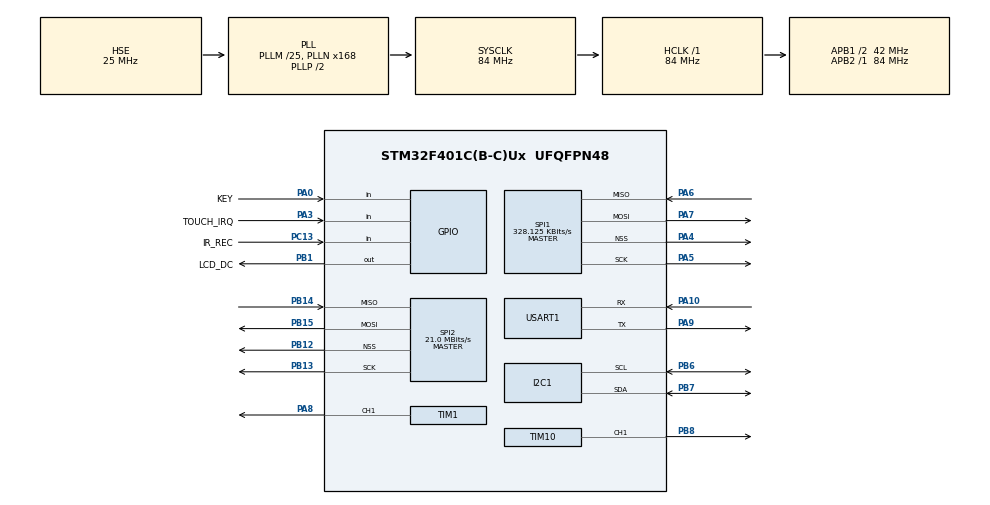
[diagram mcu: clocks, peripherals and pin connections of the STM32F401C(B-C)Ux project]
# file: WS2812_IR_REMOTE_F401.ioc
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Dma.Request0=TIM1_CH1
Dma.TIM1_CH1.0.Direction=DMA_MEMORY_TO_PERIPH
Dma.TIM1_CH1.0.FIFOMode=DMA_FIFOMODE_DISABLE
Dma.TIM1_CH1.0.Instance=DMA2_Stream1
Dma.TIM1_CH1.0.MemDataAlignment=DMA_MDATAALIGN_HALFWORD
Dma.TIM1_CH1.0.MemInc=DMA_MINC_ENABLE
Dma.TIM1_CH1.0.Mode=DMA_NORMAL
Dma.TIM1_CH1.0.PeriphDataAlignment=DMA_PDATAALIGN_HALFWORD
Dma.TIM1_CH1.0.PeriphInc=DMA_PINC_DISABLE
Dma.TIM1_CH1.0.Priority=DMA_PRIORITY_VERY_HIGH
Mcu.Family=STM32F4
Mcu.Name=STM32F401C(B-C)Ux
Mcu.Package=UFQFPN48
NVIC.DMA2_Stream1_IRQn=true\:0\:0\:false\:false\:true\:false\:true\:true
NVIC.PriorityGroup=NVIC_PRIORITYGROUP_4
NVIC.TIM1_UP_TIM10_IRQn=true\:0\:0\:false\:false\:true\:true\:true\:true
NVIC.TIM4_IRQn=true\:0\:0\:false\:false\:true\:true\:true\:true
PA0-WKUP.GPIO_Label=KEY
PA0-WKUP.Signal=GPIO_Input
PA10.Mode=Asynchronous
PA10.Signal=USART1_RX
PA13.Mode=Serial_Wire
PA13.Signal=SYS_JTMS-SWDIO
PA14.Mode=Serial_Wire
PA14.Signal=SYS_JTCK-SWCLK
PA3.GPIO_Label=TOUCH_IRQ
PA3.GPIO_PuPd=GPIO_PULLDOWN
PA3.Signal=GPIO_Input
PA4.Mode=NSS_Signal_Hard_Output
PA4.Signal=SPI1_NSS
PA5.Mode=Full_Duplex_Master
PA5.Signal=SPI1_SCK
PA6.Mode=Full_Duplex_Master
PA6.Signal=SPI1_MISO
PA7.Mode=Full_Duplex_Master
PA7.Signal=SPI1_MOSI
PA8.Signal=S_TIM1_CH1
PA9.Mode=Asynchronous
PA9.Signal=USART1_TX
PB1.GPIO_Label=LCD_DC
PB1.Signal=GPIO_Output
PB12.Mode=NSS_Signal_Hard_Output
PB12.Signal=SPI2_NSS
PB13.Mode=Full_Duplex_Master
PB13.Signal=SPI2_SCK
PB14.Mode=Full_Duplex_Master
PB14.Signal=SPI2_MISO
PB15.Mode=Full_Duplex_Master
PB15.Signal=SPI2_MOSI
PB6.Mode=I2C
PB6.Signal=I2C1_SCL
PB7.Mode=I2C
PB7.Signal=I2C1_SDA
PB8.Signal=S_TIM10_CH1
PC13-ANTI_TAMP.GPIO_Label=IR_REC
PC13-ANTI_TAMP.Signal=GPIO_Input
PH0\ -\ OSC_IN.Mode=HSE-External-Oscillator
PH0\ -\ OSC_IN.Signal=RCC_OSC_IN
PH1\ -\ OSC_OUT.Mode=HSE-External-Oscillator
PH1\ -\ OSC_OUT.Signal=RCC_OSC_OUT
ProjectManager.HeapSize=0x200
ProjectManager.StackSize=0x400
ProjectManager.TargetToolchain=STM32CubeIDE
RCC.48MHZClocksFreq_Value=42000000
RCC.AHBFreq_Value=84000000
RCC.APB1CLKDivider=RCC_HCLK_DIV2
RCC.APB1Freq_Value=42000000
RCC.APB1TimFreq_Value=84000000
RCC.APB2Freq_Value=84000000
RCC.APB2TimFreq_Value=84000000
RCC.CortexFreq_Value=84000000
RCC.HCLKFreq_Value=84000000
RCC.HSE_VALUE=25000000
RCC.HSI_VALUE=16000000
RCC.LSE_VALUE=32768
RCC.PLLM=25
RCC.PLLN=168
RCC.PLLSourceVirtual=RCC_PLLSOURCE_HSE
RCC.SYSCLKFreq_VALUE=84000000
RCC.SYSCLKSource=RCC_SYSCLKSOURCE_PLLCLK
RCC.VCOOutputFreq_Value=168000000
SH.S_TIM10_CH1.0=TIM10_CH1,PWM Generation1 CH1
SH.S_TIM1_CH1.0=TIM1_CH1,PWM Generation1 CH1
SPI1.BaudRatePrescaler=SPI_BAUDRATEPRESCALER_256
SPI1.CalculateBaudRate=328.125 KBits/s
SPI1.Direction=SPI_DIRECTION_2LINES
SPI1.Mode=SPI_MODE_MASTER
SPI1.VirtualNSS=VM_NSSHARD
SPI1.VirtualType=VM_MASTER
SPI2.BaudRatePrescaler=SPI_BAUDRATEPRESCALER_2
SPI2.CalculateBaudRate=21.0 MBits/s
SPI2.Direction=SPI_DIRECTION_2LINES
SPI2.Mode=SPI_MODE_MASTER
SPI2.VirtualNSS=VM_NSSHARD
SPI2.VirtualType=VM_MASTER
TIM1.Channel-PWM\ Generation1\ CH1=TIM_CHANNEL_1
TIM1.Period=104
TIM10.Channel=TIM_CHANNEL_1
TIM10.Period=250-1
TIM10.Prescaler=84-1
TIM4.Period=49
TIM4.Prescaler=83
USART1.VirtualMode=VM_ASYNC
VP_TIM10_VS_ClockSourceINT.Mode=Enable_Timer
VP_TIM1_VS_ClockSourceINT.Mode=Internal
VP_TIM4_VS_ClockSourceINT.Mode=Internal
board=custom

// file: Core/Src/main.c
/* USER CODE BEGIN Header */
/**
 ******************************************************************************
 * @file           : main.c
 * @brief          : Main program body
 ******************************************************************************
 * @attention
 *
 * Copyright (c) 2023 STMicroelectronics.
 * All rights reserved.
 *
 * This software is licensed under terms that can be found in the LICENSE file
 * in the root directory of this software component.
 * If no LICENSE file comes with this software, it is provided AS-IS.
 *
 ******************************************************************************
 */
/* USER CODE END Header */
#include "main.h"

/* USER CODE BEGIN Includes */
#include <stdio.h>
#include <string.h>
#include <stdlib.h>
#include <stdint.h>

#include "at24.h"
#include "ili9488.h"
#include "xpt2046.h"
#include "ir_remote.h"
#include "ws2812.h"
#include "rgb_hsv.h"
#include "lighting.h"
#include "interface.h"

#include "fonts/DejaVu_Sans_Mono/008_DejaVu_Sans_Mono.h"
#include "fonts/DejaVu_Sans_Mono/009_DejaVu_Sans_Mono.h"
#include "fonts/DejaVu_Sans_Mono/010_DejaVu_Sans_Mono.h"
#include "fonts/DejaVu_Sans_Mono/011_DejaVu_Sans_Mono.h"
#include "fonts/DejaVu_Sans_Mono/012_DejaVu_Sans_Mono.h"
#include "fonts/DejaVu_Sans_Mono/014_DejaVu_Sans_Mono.h"
#include "fonts/DejaVu_Sans_Mono/016_DejaVu_Sans_Mono.h"
#include "fonts/DejaVu_Sans_Mono/018_DejaVu_Sans_Mono.h"
#include "fonts/DejaVu_Sans_Mono/020_DejaVu_Sans_Mono.h"
#include "fonts/DejaVu_Sans_Mono/022_DejaVu_Sans_Mono.h"
#include "fonts/DejaVu_Sans_Mono/024_DejaVu_Sans_Mono.h"
#include "fonts/DejaVu_Sans_Mono/026_DejaVu_Sans_Mono.h"
#include "fonts/DejaVu_Sans_Mono/028_DejaVu_Sans_Mono.h"
#include "fonts/DejaVu_Sans_Mono/036_DejaVu_Sans_Mono.h"
#include "fonts/DejaVu_Sans_Mono/048_DejaVu_Sans_Mono.h"
#include "fonts/DejaVu_Sans_Mono/072_DejaVu_Sans_Mono.h"
#include "fonts/DejaVu_Sans_Mono/096_DejaVu_Sans_Mono.h"
#include "fonts/DejaVu_Sans_Mono/112_DejaVu_Sans_Mono.h"
#include "fonts/DejaVu_Sans_Mono/128_DejaVu_Sans_Mono.h"
/* USER CODE END Includes */

I2C_HandleTypeDef hi2c1;

SPI_HandleTypeDef hspi1;
SPI_HandleTypeDef hspi2;

TIM_HandleTypeDef htim1;
TIM_HandleTypeDef htim4;
TIM_HandleTypeDef htim10;
DMA_HandleTypeDef hdma_tim1_ch1;

UART_HandleTypeDef huart1;

/* USER CODE BEGIN PV */
uint8_t touchIRQ = 0;
uint16_t touchX = 0, touchY = 0;
//uint64_t millis = 0;
decode_results results;

double satur = 1.0, bright = 0.0, bright_last = 0.0;
uint16_t delay = 100;
long long millis = 0, millis_last = 0;

/* USER CODE END PV */

void SystemClock_Config(void);
static void MX_GPIO_Init(void);
static void MX_DMA_Init(void);
static void MX_TIM1_Init(void);
static void MX_TIM4_Init(void);
static void MX_USART1_UART_Init(void);
static void MX_SPI1_Init(void);
static void MX_SPI2_Init(void);
static void MX_I2C1_Init(void);
static void MX_TIM10_Init(void);

int main(void)
{

  /* MCU Configuration--------------------------------------------------------*/

  /* Reset of all peripherals, Initializes the Flash interface and the Systick. */
  HAL_Init();

  /* Configure the system clock */
  SystemClock_Config();

  /* Initialize all configured peripherals */
  MX_GPIO_Init();
  MX_DMA_Init();
  MX_TIM1_Init();
  MX_TIM4_Init();
  MX_USART1_UART_Init();
  MX_SPI1_Init();
  MX_SPI2_Init();
  MX_I2C1_Init();
  MX_TIM10_Init();
  /* USER CODE BEGIN 2 */

	TIM10->CCR1 = 125;
//	HAL_TIM_PWM_Start(&htim10, TIM_CHANNEL_1);

	ir_enableIRIn();
	char trans_str[64] = { 0, };
	snprintf(trans_str, 64, "IR-receiver\r\n");
	HAL_UART_Transmit(&huart1, (uint8_t*) trans_str, strlen(trans_str), 100);

	bright = AT24XX_Read(10);

	for (uint16_t i = 0; i < 40; i++) {
		led_rgb_to_buf_dma(1, 1, 1, i);
	}
	led_light();

	remake_palette(bright / 255, satur);

	LCD_Init();
	XPT2046_Init();

	show_clean();

	LCD_Font(5, 25, "R:127", &DejaVu_Sans_Mono_20, 1, RED);
	LCD_Font(5, 50, "G:127", &DejaVu_Sans_Mono_20, 1, GREEN);
	LCD_Font(5, 75, "B:127", &DejaVu_Sans_Mono_20, 1, BLUE);
	LCD_Font(5, 100, "H:180", &DejaVu_Sans_Mono_20, 1, WHITE);
	LCD_Font(5, 125, "S:127", &DejaVu_Sans_Mono_20, 1, GRAY);
	LCD_Font(5, 150, "V:127", &DejaVu_Sans_Mono_20, 1, YELLOW);
	LCD_Font(5, 175, "D:100", &DejaVu_Sans_Mono_20, 1, CYAN);

	drawR (127);
	drawG (127);
	drawB (127);
	drawH (240);
	drawS (127);
	drawV (127);
	drawD (127);

  /* USER CODE END 2 */

  /* Infinite loop */
  /* USER CODE BEGIN WHILE */
	while (1) {

//		if ((HAL_GPIO_ReadPin(GPIOA, GPIO_PIN_3) == GPIO_PIN_SET)){

			touchX = getX();
			touchY = getY();
			if (touchX && touchY) {
				LCD_Rect_Fill(touchX, touchY, 1, 1, WHITE);

				HAL_TIM_PWM_Start(&htim10, TIM_CHANNEL_1);
				HAL_Delay(50);
				HAL_TIM_PWM_Stop(&htim10, TIM_CHANNEL_1);
			}
//		}
			touchX = 0;
			touchY = 0;

		millis = HAL_GetTick();
		if (millis_last + delay < millis) {
			millis_last = millis;
			rainbow(1, 600, 8);
		}

		if (ir_decode(&results)) {
			snprintf(trans_str, 64, "Code: HEX %p DEC %lu\r\n",
					(void*) results.value, results.value);
			HAL_UART_Transmit(&huart1, (uint8_t*) trans_str, strlen(trans_str), 100);

			HAL_TIM_PWM_Start(&htim10, TIM_CHANNEL_1);
			HAL_Delay(50);
			HAL_TIM_PWM_Stop(&htim10, TIM_CHANNEL_1);

			if (results.value == 0x44490a7b && bright > 0) { // Button: "[BR-]"
				bright -= 1;
				AT24XX_Write(10, bright);
				remake_palette(bright / 255, satur);
			}

			if (results.value == 0xb3d4b87f && bright < 255) { // Button: "[BR+]"
				bright += 1;
				AT24XX_Write(10, bright);
				remake_palette(bright / 255, satur);
			}
			ir_resume();
		}
    /* USER CODE END WHILE */

	}
}

void SystemClock_Config(void)
{
  RCC_OscInitTypeDef RCC_OscInitStruct = {0};
  RCC_ClkInitTypeDef RCC_ClkInitStruct = {0};

  /** Configure the main internal regulator output voltage
  */
  __HAL_RCC_PWR_CLK_ENABLE();
  __HAL_PWR_VOLTAGESCALING_CONFIG(PWR_REGULATOR_VOLTAGE_SCALE2);

  /** Initializes the RCC Oscillators according to the specified parameters
  * in the RCC_OscInitTypeDef structure.
  */
  RCC_OscInitStruct.OscillatorType = RCC_OSCILLATORTYPE_HSE;
  RCC_OscInitStruct.HSEState = RCC_HSE_ON;
  RCC_OscInitStruct.PLL.PLLState = RCC_PLL_ON;
  RCC_OscInitStruct.PLL.PLLSource = RCC_PLLSOURCE_HSE;
  RCC_OscInitStruct.PLL.PLLM = 25;
  RCC_OscInitStruct.PLL.PLLN = 168;
  RCC_OscInitStruct.PLL.PLLP = RCC_PLLP_DIV2;
  RCC_OscInitStruct.PLL.PLLQ = 4;
  if (HAL_RCC_OscConfig(&RCC_OscInitStruct) != HAL_OK)
  {
    Error_Handler();
  }

  /** Initializes the CPU, AHB and APB buses clocks
  */
  RCC_ClkInitStruct.ClockType = RCC_CLOCKTYPE_HCLK|RCC_CLOCKTYPE_SYSCLK
                              |RCC_CLOCKTYPE_PCLK1|RCC_CLOCKTYPE_PCLK2;
  RCC_ClkInitStruct.SYSCLKSource = RCC_SYSCLKSOURCE_PLLCLK;
  RCC_ClkInitStruct.AHBCLKDivider = RCC_SYSCLK_DIV1;
  RCC_ClkInitStruct.APB1CLKDivider = RCC_HCLK_DIV2;
  RCC_ClkInitStruct.APB2CLKDivider = RCC_HCLK_DIV1;

  if (HAL_RCC_ClockConfig(&RCC_ClkInitStruct, FLASH_LATENCY_2) != HAL_OK)
  {
    Error_Handler();
  }
}

static void MX_I2C1_Init(void)
{

  hi2c1.Instance = I2C1;
  hi2c1.Init.ClockSpeed = 100000;
  hi2c1.Init.DutyCycle = I2C_DUTYCYCLE_2;
  hi2c1.Init.OwnAddress1 = 0;
  hi2c1.Init.AddressingMode = I2C_ADDRESSINGMODE_7BIT;
  hi2c1.Init.DualAddressMode = I2C_DUALADDRESS_DISABLE;
  hi2c1.Init.OwnAddress2 = 0;
  hi2c1.Init.GeneralCallMode = I2C_GENERALCALL_DISABLE;
  hi2c1.Init.NoStretchMode = I2C_NOSTRETCH_DISABLE;
  if (HAL_I2C_Init(&hi2c1) != HAL_OK)
  {
    Error_Handler();
  }

}

static void MX_SPI1_Init(void)
{

  /* SPI1 parameter configuration*/
  hspi1.Instance = SPI1;
  hspi1.Init.Mode = SPI_MODE_MASTER;
  hspi1.Init.Direction = SPI_DIRECTION_2LINES;
  hspi1.Init.DataSize = SPI_DATASIZE_8BIT;
  hspi1.Init.CLKPolarity = SPI_POLARITY_LOW;
  hspi1.Init.CLKPhase = SPI_PHASE_1EDGE;
  hspi1.Init.NSS = SPI_NSS_HARD_OUTPUT;
  hspi1.Init.BaudRatePrescaler = SPI_BAUDRATEPRESCALER_256;
  hspi1.Init.FirstBit = SPI_FIRSTBIT_MSB;
  hspi1.Init.TIMode = SPI_TIMODE_DISABLE;
  hspi1.Init.CRCCalculation = SPI_CRCCALCULATION_DISABLE;
  hspi1.Init.CRCPolynomial = 10;
  if (HAL_SPI_Init(&hspi1) != HAL_OK)
  {
    Error_Handler();
  }

}

static void MX_SPI2_Init(void)
{

  /* SPI2 parameter configuration*/
  hspi2.Instance = SPI2;
  hspi2.Init.Mode = SPI_MODE_MASTER;
  hspi2.Init.Direction = SPI_DIRECTION_2LINES;
  hspi2.Init.DataSize = SPI_DATASIZE_8BIT;
  hspi2.Init.CLKPolarity = SPI_POLARITY_LOW;
  hspi2.Init.CLKPhase = SPI_PHASE_1EDGE;
  hspi2.Init.NSS = SPI_NSS_HARD_OUTPUT;
  hspi2.Init.BaudRatePrescaler = SPI_BAUDRATEPRESCALER_2;
  hspi2.Init.FirstBit = SPI_FIRSTBIT_MSB;
  hspi2.Init.TIMode = SPI_TIMODE_DISABLE;
  hspi2.Init.CRCCalculation = SPI_CRCCALCULATION_DISABLE;
  hspi2.Init.CRCPolynomial = 10;
  if (HAL_SPI_Init(&hspi2) != HAL_OK)
  {
    Error_Handler();
  }

}

static void MX_TIM1_Init(void)
{

  TIM_ClockConfigTypeDef sClockSourceConfig = {0};
  TIM_MasterConfigTypeDef sMasterConfig = {0};
  TIM_OC_InitTypeDef sConfigOC = {0};
  TIM_BreakDeadTimeConfigTypeDef sBreakDeadTimeConfig = {0};

  htim1.Instance = TIM1;
  htim1.Init.Prescaler = 0;
  htim1.Init.CounterMode = TIM_COUNTERMODE_UP;
  htim1.Init.Period = 104;
  htim1.Init.ClockDivision = TIM_CLOCKDIVISION_DIV1;
  htim1.Init.RepetitionCounter = 0;
  htim1.Init.AutoReloadPreload = TIM_AUTORELOAD_PRELOAD_DISABLE;
  if (HAL_TIM_Base_Init(&htim1) != HAL_OK)
  {
    Error_Handler();
  }
  sClockSourceConfig.ClockSource = TIM_CLOCKSOURCE_INTERNAL;
  if (HAL_TIM_ConfigClockSource(&htim1, &sClockSourceConfig) != HAL_OK)
  {
    Error_Handler();
  }
  if (HAL_TIM_PWM_Init(&htim1) != HAL_OK)
  {
    Error_Handler();
  }
  sMasterConfig.MasterOutputTrigger = TIM_TRGO_RESET;
  sMasterConfig.MasterSlaveMode = TIM_MASTERSLAVEMODE_DISABLE;
  if (HAL_TIMEx_MasterConfigSynchronization(&htim1, &sMasterConfig) != HAL_OK)
  {
    Error_Handler();
  }
  sConfigOC.OCMode = TIM_OCMODE_PWM1;
  sConfigOC.Pulse = 0;
  sConfigOC.OCPolarity = TIM_OCPOLARITY_HIGH;
  sConfigOC.OCNPolarity = TIM_OCNPOLARITY_HIGH;
  sConfigOC.OCFastMode = TIM_OCFAST_DISABLE;
  sConfigOC.OCIdleState = TIM_OCIDLESTATE_RESET;
  sConfigOC.OCNIdleState = TIM_OCNIDLESTATE_RESET;
  if (HAL_TIM_PWM_ConfigChannel(&htim1, &sConfigOC, TIM_CHANNEL_1) != HAL_OK)
  {
    Error_Handler();
  }
  sBreakDeadTimeConfig.OffStateRunMode = TIM_OSSR_DISABLE;
  sBreakDeadTimeConfig.OffStateIDLEMode = TIM_OSSI_DISABLE;
  sBreakDeadTimeConfig.LockLevel = TIM_LOCKLEVEL_OFF;
  sBreakDeadTimeConfig.DeadTime = 0;
  sBreakDeadTimeConfig.BreakState = TIM_BREAK_DISABLE;
  sBreakDeadTimeConfig.BreakPolarity = TIM_BREAKPOLARITY_HIGH;
  sBreakDeadTimeConfig.AutomaticOutput = TIM_AUTOMATICOUTPUT_DISABLE;
  if (HAL_TIMEx_ConfigBreakDeadTime(&htim1, &sBreakDeadTimeConfig) != HAL_OK)
  {
    Error_Handler();
  }
  HAL_TIM_MspPostInit(&htim1);

}

static void MX_TIM4_Init(void)
{

  TIM_ClockConfigTypeDef sClockSourceConfig = {0};
  TIM_MasterConfigTypeDef sMasterConfig = {0};

  htim4.Instance = TIM4;
  htim4.Init.Prescaler = 83;
  htim4.Init.CounterMode = TIM_COUNTERMODE_UP;
  htim4.Init.Period = 49;
  htim4.Init.ClockDivision = TIM_CLOCKDIVISION_DIV1;
  htim4.Init.AutoReloadPreload = TIM_AUTORELOAD_PRELOAD_DISABLE;
  if (HAL_TIM_Base_Init(&htim4) != HAL_OK)
  {
    Error_Handler();
  }
  sClockSourceConfig.ClockSource = TIM_CLOCKSOURCE_INTERNAL;
  if (HAL_TIM_ConfigClockSource(&htim4, &sClockSourceConfig) != HAL_OK)
  {
    Error_Handler();
  }
  sMasterConfig.MasterOutputTrigger = TIM_TRGO_RESET;
  sMasterConfig.MasterSlaveMode = TIM_MASTERSLAVEMODE_DISABLE;
  if (HAL_TIMEx_MasterConfigSynchronization(&htim4, &sMasterConfig) != HAL_OK)
  {
    Error_Handler();
  }

}

static void MX_TIM10_Init(void)
{

  TIM_OC_InitTypeDef sConfigOC = {0};

  htim10.Instance = TIM10;
  htim10.Init.Prescaler = 84-1;
  htim10.Init.CounterMode = TIM_COUNTERMODE_UP;
  htim10.Init.Period = 250-1;
  htim10.Init.ClockDivision = TIM_CLOCKDIVISION_DIV1;
  htim10.Init.AutoReloadPreload = TIM_AUTORELOAD_PRELOAD_DISABLE;
  if (HAL_TIM_Base_Init(&htim10) != HAL_OK)
  {
    Error_Handler();
  }
  if (HAL_TIM_PWM_Init(&htim10) != HAL_OK)
  {
    Error_Handler();
  }
  sConfigOC.OCMode = TIM_OCMODE_PWM1;
  sConfigOC.Pulse = 0;
  sConfigOC.OCPolarity = TIM_OCPOLARITY_HIGH;
  sConfigOC.OCFastMode = TIM_OCFAST_DISABLE;
  if (HAL_TIM_PWM_ConfigChannel(&htim10, &sConfigOC, TIM_CHANNEL_1) != HAL_OK)
  {
    Error_Handler();
  }
  HAL_TIM_MspPostInit(&htim10);

}

static void MX_USART1_UART_Init(void)
{

  huart1.Instance = USART1;
  huart1.Init.BaudRate = 115200;
  huart1.Init.WordLength = UART_WORDLENGTH_8B;
  huart1.Init.StopBits = UART_STOPBITS_1;
  huart1.Init.Parity = UART_PARITY_NONE;
  huart1.Init.Mode = UART_MODE_TX_RX;
  huart1.Init.HwFlowCtl = UART_HWCONTROL_NONE;
  huart1.Init.OverSampling = UART_OVERSAMPLING_16;
  if (HAL_UART_Init(&huart1) != HAL_OK)
  {
    Error_Handler();
  }

}

static void MX_DMA_Init(void)
{

  /* DMA controller clock enable */
  __HAL_RCC_DMA2_CLK_ENABLE();

  /* DMA interrupt init */
  /* DMA2_Stream1_IRQn interrupt configuration */
  HAL_NVIC_SetPriority(DMA2_Stream1_IRQn, 0, 0);
  HAL_NVIC_EnableIRQ(DMA2_Stream1_IRQn);

}

static void MX_GPIO_Init(void)
{
  GPIO_InitTypeDef GPIO_InitStruct = {0};

  /* GPIO Ports Clock Enable */
  __HAL_RCC_GPIOC_CLK_ENABLE();
  __HAL_RCC_GPIOH_CLK_ENABLE();
  __HAL_RCC_GPIOA_CLK_ENABLE();
  __HAL_RCC_GPIOB_CLK_ENABLE();

  /*Configure GPIO pin Output Level */
  HAL_GPIO_WritePin(LCD_DC_GPIO_Port, LCD_DC_Pin, GPIO_PIN_RESET);

  /*Configure GPIO pin : IR_REC_Pin */
  GPIO_InitStruct.Pin = IR_REC_Pin;
  GPIO_InitStruct.Mode = GPIO_MODE_INPUT;
  GPIO_InitStruct.Pull = GPIO_NOPULL;
  HAL_GPIO_Init(IR_REC_GPIO_Port, &GPIO_InitStruct);

  /*Configure GPIO pin : KEY_Pin */
  GPIO_InitStruct.Pin = KEY_Pin;
  GPIO_InitStruct.Mode = GPIO_MODE_INPUT;
  GPIO_InitStruct.Pull = GPIO_NOPULL;
  HAL_GPIO_Init(KEY_GPIO_Port, &GPIO_InitStruct);

  /*Configure GPIO pin : TOUCH_IRQ_Pin */
  GPIO_InitStruct.Pin = TOUCH_IRQ_Pin;
  GPIO_InitStruct.Mode = GPIO_MODE_INPUT;
  GPIO_InitStruct.Pull = GPIO_PULLDOWN;
  HAL_GPIO_Init(TOUCH_IRQ_GPIO_Port, &GPIO_InitStruct);

  /*Configure GPIO pin : LCD_DC_Pin */
  GPIO_InitStruct.Pin = LCD_DC_Pin;
  GPIO_InitStruct.Mode = GPIO_MODE_OUTPUT_PP;
  GPIO_InitStruct.Pull = GPIO_NOPULL;
  GPIO_InitStruct.Speed = GPIO_SPEED_FREQ_LOW;
  HAL_GPIO_Init(LCD_DC_GPIO_Port, &GPIO_InitStruct);

}

void Error_Handler(void)
{
	__disable_irq();
	while (1) {
	}
}
